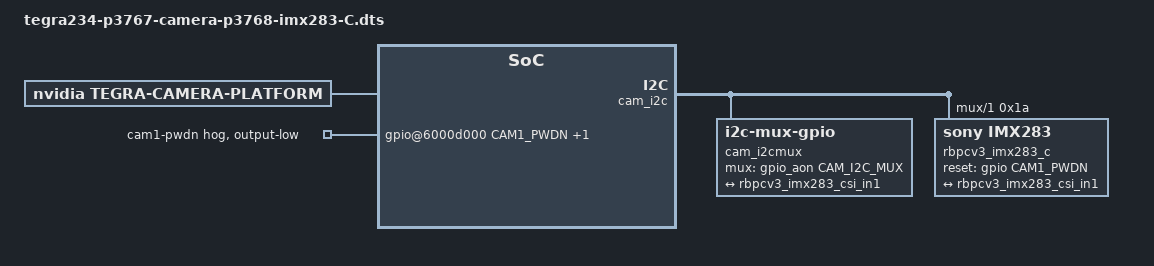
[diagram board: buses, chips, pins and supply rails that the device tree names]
// SPDX-License-Identifier: GPL-2.0-only
// SPDX-FileCopyrightText: Copyright (c) 2023-2024, NVIDIA CORPORATION & AFFILIATES. All rights reserved.
// SPDX-FileCopyrightText: Copyright (c) 2026, UAB Kurokesu. All rights reserved.

/dts-v1/;
/plugin/;

#define CAM0_PWDN	TEGRA234_MAIN_GPIO(H, 6)
#define CAM1_PWDN	TEGRA234_MAIN_GPIO(AC, 0)
#define CAM_I2C_MUX 	TEGRA234_AON_GPIO(CC, 3)

#include <dt-bindings/tegra234-p3767-0000-common.h>

/ {
	overlay-name = "Camera IMX283-C";
	jetson-header-name = "Jetson 22pin CSI Connector";
	compatible = JETSON_COMPATIBLE_P3768;
	/* IMX283 connected to cam1 port (4-lane) */

	fragment@0 {
		target-path = "/";
		__overlay__ {
			tegra-capture-vi {
				num-channels = <1>;
				ports {
					#address-cells = <1>;
					#size-cells = <0>;
					port@0 {
						reg = <0>;
						rbpcv3_imx283_vi_in1: endpoint {
							port-index = <2>;
							bus-width = <4>;
							remote-endpoint = <&rbpcv3_imx283_csi_out1>;
						};
					};
				};
			};
			tegra-camera-platform {
				compatible = "nvidia, tegra-camera-platform";
				/**
				 * The general guideline for naming badge_info contains 3 parts, and is as follows,
				 * The first part is the camera_board_id for the module; if the module is in a FFD
				 * platform, then use the platform name for this part.
				 * The second part contains the position of the module, ex. "rear" or "front".
				 * The third part contains the last 6 characters of a part number which is found
				 * in the module's specsheet from the vendor.
				 */
				modules {
					module1 {
						badge = "kurokesu_front_283CSI";
						position = "front";
						orientation = "0";
						drivernode0 {
							pcl_id = "v4l2_sensor";
							sysfs-device-tree = "/sys/firmware/devicetree/base/bus@0/cam_i2cmux/i2c@1/rbpcv3_imx283_c@1a";
						};
					};
				};
			};
			bus@0 {
				host1x@13e00000 {
					nvcsi@15a00000 {
						num-channels = <1>;
						#address-cells = <1>;
						#size-cells = <0>;
						channel@0 {
							reg = <0>;
							ports {
								#address-cells = <1>;
								#size-cells = <0>;
								port@0 {
									reg = <0>;
									rbpcv3_imx283_csi_in1: endpoint@0 {
										port-index = <2>;
										bus-width = <4>;
										remote-endpoint = <&rbpcv3_imx283_out1>;
									};
								};
								port@1 {
									reg = <1>;
									rbpcv3_imx283_csi_out1: endpoint@1 {
										remote-endpoint = <&rbpcv3_imx283_vi_in1>;
									};
								};
							};
						};
					};
				};
				cam_i2cmux {
					status = "okay";
					compatible = "i2c-mux-gpio";
					#address-cells = <1>;
					#size-cells = <0>;
					mux-gpios = <&gpio_aon CAM_I2C_MUX GPIO_ACTIVE_HIGH>;
					i2c-parent = <&cam_i2c>;
					i2c@1 {
						status = "okay";
						reg = <1>;
						#address-cells = <1>;
						#size-cells = <0>;
						rbpcv3_imx283_c@1a {
							reset-gpios = <&gpio CAM1_PWDN GPIO_ACTIVE_HIGH>;
							compatible = "sony,imx283";
							/* I2C device address */
							reg = <0x1a>;
							/* V4L2 device node location */
							devnode = "video0";
							/* Physical dimensions of sensor */
							physical_w = "13.2";
							physical_h = "8.8";
							sensor_model = "imx283";
							use_sensor_mode_id = "true";
							/**
							* ==== Modes ====
							* A modeX node is required to support v4l2 driver
							* implementation with NVIDIA camera software stack
							*
							* == Signal properties ==
							*
							* phy_mode = "";
							* PHY mode used by the MIPI lanes for this device
							*
							* tegra_sinterface = "";
							* CSI Serial interface connected to tegra
							* Incase of virtual HW devices, use virtual
							* For SW emulated devices, use host
							*
							* pix_clk_hz = "";
							* Sensor pixel clock used for calculations like exposure and framerate
							*
							* readout_orientation = "0";
							* Based on camera module orientation.
							* Only change readout_orientation if you specifically
							* Program a different readout order for this mode
							*
							* lane_polarity
							* Based on the camera connector pin.
							* CSIx_D0 | CSIx_D1 | CSI(X+1)_D0 | CSI(X+1)CSIx_D1
							*    LSB  |   BIT1  |     BIT2    |      MSB
							* if there is a polarity swap on any lane, the bit corrsponding
							* to the lane should be set
							* e.g. polarity swap on CSIx_D0 only -> lane_polarity = "1"; 0001
							* e.g. polarity swap on CSIx_D1 and CSI(X+1)_D0 -> lane_polarity = "6"; 0110
							*
							* == Image format Properties ==
							*
							* active_w = "";
							* Pixel active region width
							*
							* active_h = "";
							* Pixel active region height
							*
							* pixel_t = "";
							* The sensor readout pixel pattern
							*
							* line_length = "";
							* Pixel line length (width) for sensor mode.
							*
							* == Source Control Settings ==
							*
							* Gain factor used to convert fixed point integer to float
							* Gain range [min_gain/gain_factor, max_gain/gain_factor]
							* Gain step [step_gain/gain_factor is the smallest step that can be configured]
							* Default gain [Default gain to be initialized for the control.
							*     use min_gain_val as default for optimal results]
							* Framerate factor used to convert fixed point integer to float
							* Framerate range [min_framerate/framerate_factor, max_framerate/framerate_factor]
							* Framerate step [step_framerate/framerate_factor is the smallest step that can be configured]
							* Default Framerate [Default framerate to be initialized for the control.
							*     use max_framerate to get required performance]
							* Exposure factor used to convert fixed point integer to float
							* For convenience use 1 sec = 1000000us as conversion factor
							* Exposure range [min_exp_time/exposure_factor, max_exp_time/exposure_factor]
							* Exposure step [step_exp_time/exposure_factor is the smallest step that can be configured]
							* Default Exposure Time [Default exposure to be initialized for the control.
							*     Set default exposure based on the default_framerate for optimal exposure settings]
							*
							* gain_factor = ""; (integer factor used for floating to fixed point conversion)
							* min_gain_val = ""; (ceil to integer)
							* max_gain_val = ""; (ceil to integer)
							* step_gain_val = ""; (ceil to integer)
							* default_gain = ""; (ceil to integer)
							* Gain limits for mode
							*
							* exposure_factor = ""; (integer factor used for floating to fixed point conversion)
							* min_exp_time = ""; (ceil to integer)
							* max_exp_time = ""; (ceil to integer)
							* step_exp_time = ""; (ceil to integer)
							* default_exp_time = ""; (ceil to integer)
							* Exposure Time limits for mode (sec)
							*
							* framerate_factor = ""; (integer factor used for floating to fixed point conversion)
							* min_framerate = ""; (ceil to integer)
							* max_framerate = ""; (ceil to integer)
							* step_framerate = ""; (ceil to integer)
							* default_framerate = ""; (ceil to integer)
							* Framerate limits for mode (fps)
							*
							* embedded_metadata_height = "";
							* Sensor embedded metadata height in units of rows.
							* If sensor does not support embedded metadata value should be 0.
							*/
							mode0 { /* IMX283_MODE_5568X3648 */
								mclk_khz = "24000";
								num_lanes = "4";
								tegra_sinterface = "serial_c";
								phy_mode = "DPHY";
								discontinuous_clk = "no";
								dpcm_enable = "false";
								cil_settletime = "0";
								lane_polarity = "0";
								active_w = "5568";
								active_h = "3648";
								mode_type = "bayer";
								pixel_phase = "rggb";
								dynamic_pixel_bit_depth = "12";
								csi_pixel_bit_depth = "12";
								readout_orientation = "0";
								line_length = "6000";
								inherent_gain = "1";
								mclk_multiplier = "25";
								pix_clk_hz = "240000000";
								gain_factor = "100";
								framerate_factor = "1000000";
								exposure_factor = "1000000";
								min_gain_val = "100";  /* 1.00x = 0 dB */
								max_gain_val = "2237"; /* 22.37x ~ 27 dB */
								step_gain_val = "1";   /* 0.01x */
								default_gain = "100";  /* unity */
								min_hdr_ratio = "1";
								max_hdr_ratio = "1";
								min_framerate = "1000000";  /* 1 fps */
								max_framerate = "10000000"; /* 10 fps */
								step_framerate = "1";
								default_framerate = "10000000"; /* 10 fps */
								min_exp_time = "50";    /* 50 us */
								max_exp_time = "49860"; /* ~49.9 ms */
								step_exp_time = "1";
								default_exp_time = "10000"; /* 10 ms */
								embedded_metadata_height = "0";
							};
							ports {
								#address-cells = <1>;
								#size-cells = <0>;
								port@0 {
									reg = <0>;
									rbpcv3_imx283_out1: endpoint {
										port-index = <2>;
										bus-width = <4>;
										remote-endpoint = <&rbpcv3_imx283_csi_in1>;
									};
								};
							};
						};
					};
				};
				gpio@6000d000 {
					camera-control-output-low {
						gpio-hog;
						output-low;
						gpios = <CAM1_PWDN 0  CAM0_PWDN 0>;
						label = "cam1-pwdn", "cam0-pwdn";
					};
				};
			};
		};
	};
};
